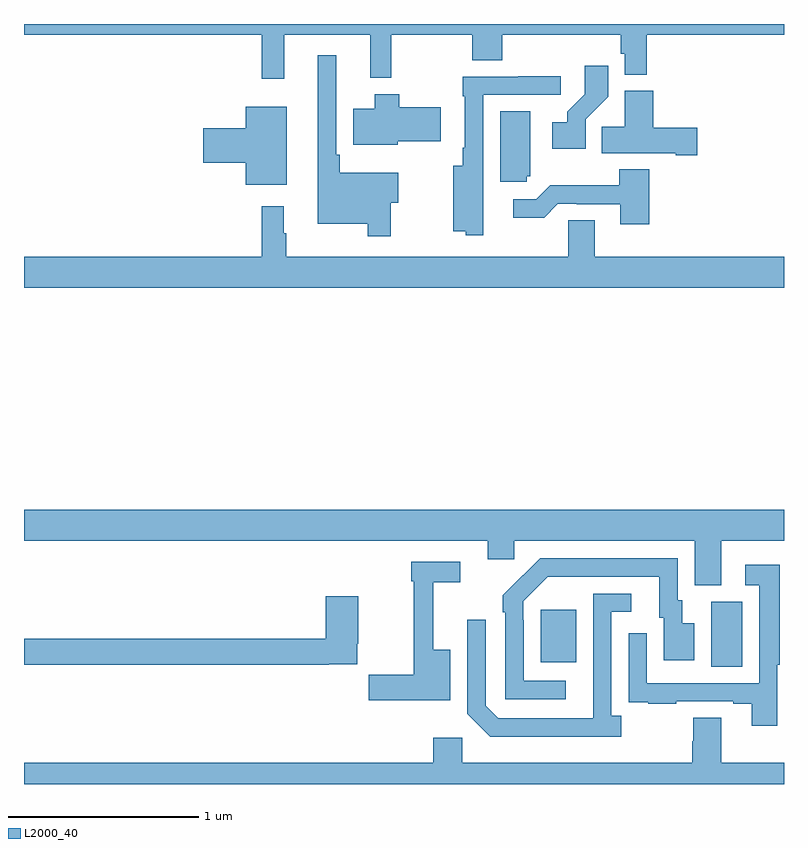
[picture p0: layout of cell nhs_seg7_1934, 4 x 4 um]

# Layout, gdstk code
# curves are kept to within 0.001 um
import gdstk
lib = gdstk.Library(unit=1e-6, precision=1e-09)
def R(c, l, rs):  # rectangles x0, y0, x1, y1
    for r in rs: c.add(gdstk.rectangle(r[:2], r[2:], *l))
def P(c, l, *ps):  # polygons
    for p in ps: c.add(gdstk.Polygon(p, *l))
L2000_40 = (2000, 40)

nhs_seg7_1934 = lib.new_cell('nhs_seg7_1934')
R(nhs_seg7_1934, L2000_40, [(244.616,1002.616,244.78,1002.96), (243.719,1002.641,243.907,1002.916)])
P(nhs_seg7_1934, L2000_40, [(242.369,1005.944),(242.822,1005.944),(242.822,1005.716),(242.932,1005.716),(242.932,1005.944),(243.358,1005.944),(243.358,1005.808),(243.518,1005.808),(243.518,1005.944),(244.141,1005.944),(244.141,1005.843),(244.161,1005.843),(244.161,1005.734),(244.277,1005.734),(244.277,1005.944),(245,1005.944),(245,1006),(241,1006),(241,1005.944),(242.251,1005.944),(242.251,1005.711),(242.369,1005.711)],
  [(242.929,1005.059),(242.971,1005.059),(242.971,1005.217),(242.663,1005.217),(242.663,1005.313),(242.643,1005.313),(242.643,1005.835),(242.546,1005.835),(242.546,1004.948),(242.808,1004.948),(242.808,1004.883),(242.929,1004.883)],
  [(243.957,1005.499),(244.076,1005.618),(244.076,1005.781),(243.951,1005.781),(243.951,1005.629),(243.86,1005.539),(243.86,1005.484),(243.78,1005.484),(243.78,1005.344),(243.957,1005.344)],
  [(243.418,1005.149),(243.417,1005.149),(243.417,1005.627),(243.826,1005.627),(243.826,1005.726),(243.601,1005.726),(243.601,1005.723),(243.309,1005.723),(243.309,1005.62),(243.321,1005.62),(243.321,1005.349),(243.309,1005.349),(243.309,1005.253),(243.26,1005.253),(243.26,1004.909),(243.324,1004.909),(243.324,1004.888),(243.418,1004.888)],
  [(244.543,1005.455),(244.313,1005.455),(244.313,1005.649),(244.163,1005.649),(244.163,1005.458),(244.042,1005.458),(244.042,1005.32),(244.43,1005.32),(244.43,1005.308),(244.543,1005.308)],
  [(242.968,1005.383),(243.193,1005.383),(243.193,1005.561),(242.976,1005.561),(242.976,1005.631),(242.846,1005.631),(242.846,1005.553),(242.732,1005.553),(242.732,1005.365),(242.968,1005.365)],
  [(242.383,1005.565),(242.168,1005.565),(242.168,1005.452),(241.944,1005.452),(241.944,1005.269),(242.168,1005.269),(242.168,1005.155),(242.383,1005.155)],
  [(243.645,1005.198),(243.664,1005.198),(243.664,1005.542),(243.506,1005.542),(243.506,1005.171),(243.645,1005.171)],
  [(244.292,1005.235),(244.132,1005.235),(244.132,1005.151),(243.769,1005.151),(243.696,1005.078),(243.576,1005.078),(243.576,1004.981),(243.737,1004.981),(243.81,1005.054),(243.91,1005.054),(243.91,1005.051),(244.139,1005.051),(244.139,1004.946),(244.292,1004.946)],
  [(245,1004.776),(244.003,1004.776),(244.003,1004.966),(243.864,1004.966),(243.864,1004.776),(242.38,1004.776),(242.38,1004.9),(242.368,1004.9),(242.368,1005.04),(242.251,1005.04),(242.251,1004.776),(241,1004.776),(241,1004.612),(245,1004.612)],
  [(244.669,1003.28),(245,1003.28),(245,1003.444),(241,1003.444),(241,1003.28),(243.44,1003.28),(243.44,1003.182),(243.579,1003.182),(243.579,1003.28),(244.529,1003.28),(244.529,1003.045),(244.669,1003.045)],
  [(243.85,1002.543),(243.63,1002.543),(243.63,1002.863),(243.627,1002.863),(243.627,1002.963),(243.756,1003.092),(244.343,1003.092),(244.343,1002.876),(244.367,1002.876),(244.367,1002.651),(244.528,1002.651),(244.528,1002.847),(244.465,1002.847),(244.465,1002.966),(244.44,1002.966),(244.44,1003.188),(243.716,1003.188),(243.519,1002.993),(243.519,1002.905),(243.534,1002.905),(243.534,1002.447),(243.85,1002.447)],
  [(243.244,1002.706),(243.155,1002.706),(243.155,1003.062),(243.295,1003.062),(243.295,1003.17),(243.037,1003.17),(243.037,1003.067),(243.052,1003.067),(243.052,1002.574),(242.814,1002.574),(242.814,1002.442),(243.244,1002.442)],
  [(244.965,1002.628),(244.978,1002.628),(244.978,1003.153),(244.797,1003.153),(244.797,1003.047),(244.869,1003.047),(244.869,1002.531),(244.278,1002.531),(244.278,1002.793),(244.182,1002.793),(244.182,1002.538),(244.183,1002.538),(244.183,1002.429),(244.285,1002.429),(244.285,1002.423),(244.433,1002.423),(244.433,1002.435),(244.733,1002.435),(244.733,1002.423),(244.829,1002.423),(244.829,1002.306),(244.965,1002.306)],
  [(244.144,1002.358),(244.092,1002.358),(244.092,1002.906),(244.195,1002.906),(244.195,1003.002),(243.996,1003.002),(243.995,1002.345),(243.495,1002.345),(243.429,1002.411),(243.429,1002.865),(243.333,1002.865),(243.333,1002.369),(243.454,1002.248),(244.144,1002.248)],
  [(242.604,1002.63),(242.755,1002.63),(242.755,1002.739),(242.758,1002.739),(242.758,1002.988),(242.588,1002.988),(242.588,1002.764),(241,1002.764),(241,1002.628),(242.604,1002.628)],
  [(245,1002.112),(244.669,1002.112),(244.669,1002.35),(244.522,1002.35),(244.522,1002.225),(244.517,1002.225),(244.517,1002.112),(243.306,1002.112),(243.306,1002.244),(243.155,1002.244),(243.155,1002.112),(241,1002.112),(241,1002),(245,1002)])

lib.write_gds('nhs_seg7_1934.gds')
